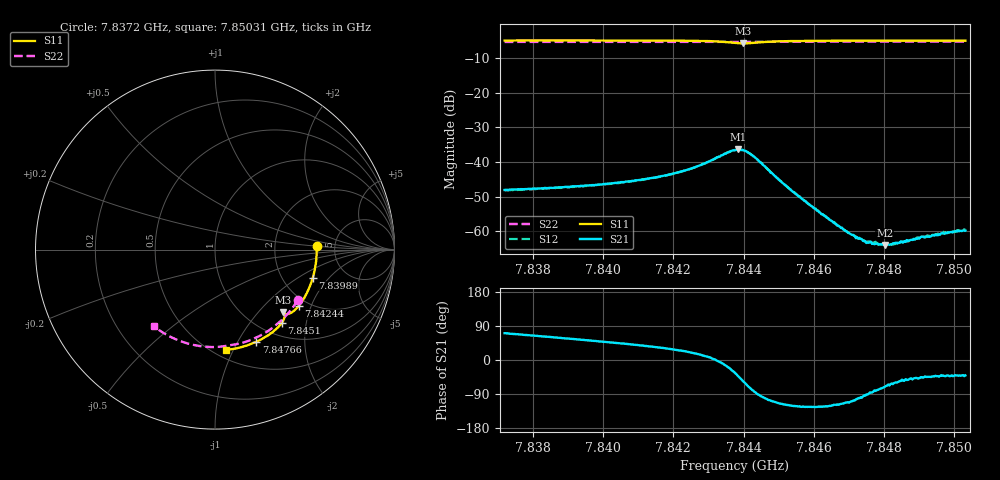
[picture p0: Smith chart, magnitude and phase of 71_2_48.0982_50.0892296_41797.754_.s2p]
#  HZ  S  RI  R  50.00
! Rohde & Schwarz Vector Network Analyzer
! Rohde-Schwarz,ZNB20-2Port,1311601062101988,3.16
! Created: UTC 12/23/2023, 3:41:45 AM
! freq[Hz]  re:S11  im:S11  re:S21  im:S21  re:S12  im:S12  re:S22  im:S22
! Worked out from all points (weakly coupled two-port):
!   401 points, 7.8372 GHz to 7.85031 GHz, reference 50 ohm
!   highest |S21| = -36.37 dB at 7.84385 GHz (marker M1); lowest = -64.0 dB at 7.84802 GHz (marker M2)
!   lowest |S11| = -5.8 dB at 7.84399 GHz (marker M3), VSWR 3.12, Z = 72.3 - j68.7 ohm
!   |S11| at or under -10 dB: nowhere
!   |S22| runs from -5.4 to -5.2 dB; largest |S21 - S12| = 0.00029
!   S11 on the Smith chart (normalised r, x): 7.8372 GHz: 3.60, +0.23; 7.83989 GHz: 2.94, -1.35; 7.84244 GHz: 1.78, -1.64; 7.8451 GHz: 1.24, -1.46; 7.84766 GHz: 0.80, -1.20; 7.85031 GHz: 0.57, -0.94
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7.837197e9  0.5659 0.0221  0.0013 0.00373  0.00134 0.0037  0.4601 -0.2822
7.839394e9  0.5534 -0.1234  0.00271 0.00363  0.00266 0.0036  0.3627 -0.4008
7.839886e9  0.5453 -0.1555  0.0031 0.0036  0.00305 0.00358  0.3365 -0.4233
7.841591e9  0.5007 -0.2633  0.00515 0.00334  0.00507 0.00338  0.2357 -0.4874
7.842444e9  0.4662 -0.3144  0.00735 0.00279  0.00733 0.00279  0.1802 -0.5105
7.843264e9  0.4171 -0.3557  0.0118 -0.000573  0.0117 -0.000371  0.1246 -0.5261
7.843756e9  0.3819 -0.3567  0.0122 -0.00831  0.0123 -0.0084  0.0917 -0.5313
7.843854e9  0.3786 -0.3535  0.0111 -0.0104  0.011 -0.0103  0.0854 -0.5323
7.843985e9  0.3784 -0.3492  0.00833 -0.0123  0.00841 -0.0121  0.0772 -0.5336
7.844313e9  0.3871 -0.355  0.00114 -0.0117  0.00126 -0.0117  0.0562 -0.5374
7.8451e9  0.3728 -0.4076  -0.0022 -0.00453  -0.00222 -0.00452  0.00135 -0.5428
7.845953e9  0.3302 -0.4522  -0.00128 -0.00189  -0.00126 -0.0019  -0.0589 -0.5406
7.84697e9  0.2722 -0.4921  -0.000353 -0.000893  -0.000359 -0.000893  -0.1295 -0.5289
7.847462e9  0.2429 -0.5078  -5.46e-05 -0.00072  -5.38e-05 -0.000707  -0.1627 -0.5198
7.847658e9  0.2307 -0.5134  5.19e-05 -0.000656  5.56e-05 -0.000675  -0.176 -0.5156
7.847921e9  0.2146 -0.5206  0.00017 -0.000631  0.000176 -0.000618  -0.1934 -0.5096
7.848019e9  0.2085 -0.5229  0.000208 -0.000599  0.000216 -0.000649  -0.1999 -0.5072
7.84815e9  0.2003 -0.526  0.000249 -0.000592  0.000279 -0.000602  -0.2085 -0.5036
7.848281e9  0.192 -0.5293  0.000327 -0.000589  0.000298 -0.000579  -0.2169 -0.5001
7.848445e9  0.1818 -0.533  0.000384 -0.000562  0.00037 -0.000604  -0.2275 -0.4956
7.849101e9  0.1397 -0.5453  0.000575 -0.00061  0.000553 -0.00062  -0.2685 -0.475
7.850315e9  0.0602 -0.5593  0.000775 -0.000668  0.000831 -0.00068  -0.3395 -0.4281
